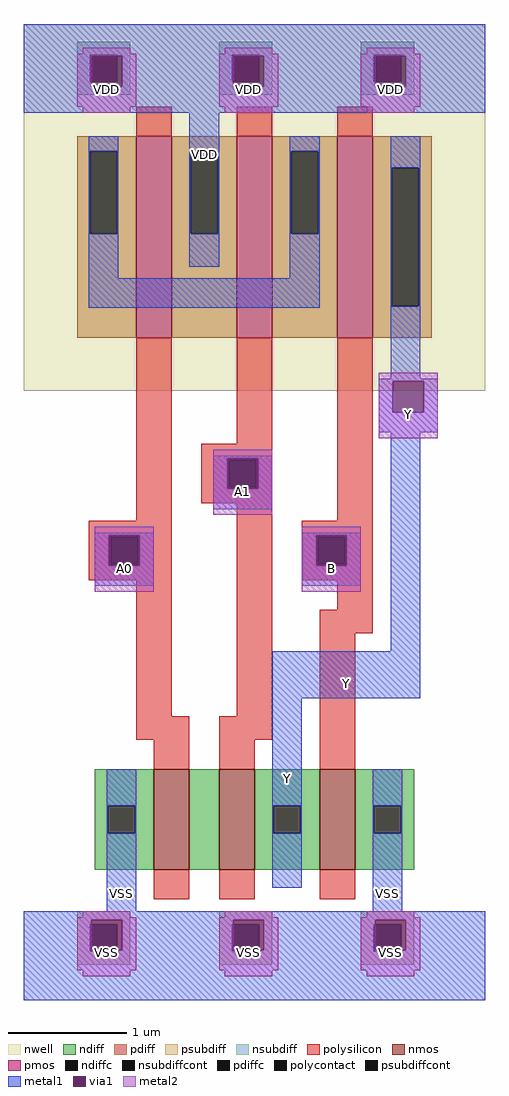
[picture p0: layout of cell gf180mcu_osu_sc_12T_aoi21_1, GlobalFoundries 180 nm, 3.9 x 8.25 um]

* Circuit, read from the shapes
.subckt gf180mcu_osu_sc_12T_aoi21_1 Y A0 A1 B VDD VSS
XM1 n1 A0 VSS VSS nfet_03v3 w=0.85u l=0.3u
XM2 Y A1 n1 VSS nfet_03v3 w=0.85u l=0.3u
XM3 VSS B Y VSS nfet_03v3 w=0.85u l=0.3u
XM4 VDD A0 n2 VDD pfet_03v3 w=1.7u l=0.3u
XM5 n2 A1 VDD VDD pfet_03v3 w=1.7u l=0.3u
XM6 Y B n2 VDD pfet_03v3 w=1.7u l=0.3u
.ends

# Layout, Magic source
magic
tech gf180mcuC
magscale 1 10
<< nwell >>
rect 0 1000 780 1620
<< nmos >>
rect 220 190 280 360
rect 330 190 390 360
rect 500 190 560 360
<< pmos >>
rect 190 1090 250 1430
rect 360 1090 420 1430
rect 530 1090 590 1430
<< ndiff >>
rect 120 298 220 360
rect 120 252 142 298
rect 188 252 220 298
rect 120 190 220 252
rect 280 190 330 360
rect 390 298 500 360
rect 390 252 422 298
rect 468 252 500 298
rect 390 190 500 252
rect 560 298 660 360
rect 560 252 592 298
rect 638 252 660 298
rect 560 190 660 252
<< pdiff >>
rect 90 1405 190 1430
rect 90 1265 112 1405
rect 158 1265 190 1405
rect 90 1090 190 1265
rect 250 1405 360 1430
rect 250 1265 282 1405
rect 328 1265 360 1405
rect 250 1090 360 1265
rect 420 1405 530 1430
rect 420 1265 452 1405
rect 498 1265 530 1405
rect 420 1090 530 1265
rect 590 1377 690 1430
rect 590 1143 622 1377
rect 668 1143 690 1377
rect 590 1090 690 1143
<< ndiffc >>
rect 142 252 188 298
rect 422 252 468 298
rect 592 252 638 298
<< pdiffc >>
rect 112 1265 158 1405
rect 282 1265 328 1405
rect 452 1265 498 1405
rect 622 1143 668 1377
<< psubdiff >>
rect 90 98 180 120
rect 90 52 112 98
rect 158 52 180 98
rect 90 30 180 52
rect 330 98 420 120
rect 330 52 352 98
rect 398 52 420 98
rect 330 30 420 52
rect 570 98 660 120
rect 570 52 592 98
rect 638 52 660 98
rect 570 30 660 52
<< nsubdiff >>
rect 90 1568 180 1590
rect 90 1522 112 1568
rect 158 1522 180 1568
rect 90 1500 180 1522
rect 330 1568 420 1590
rect 330 1522 352 1568
rect 398 1522 420 1568
rect 330 1500 420 1522
rect 570 1568 660 1590
rect 570 1522 592 1568
rect 638 1522 660 1568
rect 570 1500 660 1522
<< psubdiffcont >>
rect 112 52 158 98
rect 352 52 398 98
rect 592 52 638 98
<< nsubdiffcont >>
rect 112 1522 158 1568
rect 352 1522 398 1568
rect 592 1522 638 1568
<< polysilicon >>
rect 190 1430 250 1480
rect 360 1430 420 1480
rect 530 1430 590 1480
rect 190 780 250 1090
rect 360 910 420 1090
rect 300 883 420 910
rect 300 837 347 883
rect 393 837 420 883
rect 300 810 420 837
rect 110 753 250 780
rect 110 707 147 753
rect 193 707 250 753
rect 110 680 250 707
rect 190 450 250 680
rect 360 450 420 810
rect 530 780 590 1090
rect 470 753 590 780
rect 470 707 497 753
rect 543 707 590 753
rect 470 680 590 707
rect 530 630 590 680
rect 190 410 280 450
rect 220 360 280 410
rect 330 410 420 450
rect 500 590 590 630
rect 330 360 390 410
rect 500 360 560 590
rect 220 140 280 190
rect 330 140 390 190
rect 500 140 560 190
<< polycontact >>
rect 347 837 393 883
rect 147 707 193 753
rect 497 707 543 753
<< metal1 >>
rect 0 1568 780 1620
rect 0 1522 112 1568
rect 158 1566 352 1568
rect 398 1566 592 1568
rect 638 1566 780 1568
rect 166 1522 352 1566
rect 406 1522 592 1566
rect 0 1514 114 1522
rect 166 1514 354 1522
rect 406 1514 594 1522
rect 646 1514 780 1566
rect 0 1470 780 1514
rect 110 1405 160 1430
rect 110 1265 112 1405
rect 158 1265 160 1405
rect 110 1190 160 1265
rect 280 1405 330 1470
rect 280 1265 282 1405
rect 328 1265 330 1405
rect 280 1210 330 1265
rect 450 1405 500 1430
rect 450 1265 452 1405
rect 498 1265 500 1405
rect 450 1190 500 1265
rect 110 1140 500 1190
rect 620 1377 670 1430
rect 620 1143 622 1377
rect 668 1143 670 1377
rect 620 1020 670 1143
rect 600 1016 700 1020
rect 600 964 624 1016
rect 676 964 700 1016
rect 600 930 700 964
rect 320 886 420 890
rect 320 834 344 886
rect 396 834 420 886
rect 320 800 420 834
rect 120 756 220 760
rect 120 704 144 756
rect 196 704 220 756
rect 120 670 220 704
rect 470 756 570 760
rect 470 704 494 756
rect 546 704 570 756
rect 470 670 570 704
rect 620 560 670 930
rect 420 480 670 560
rect 140 298 190 360
rect 140 252 142 298
rect 188 252 190 298
rect 140 120 190 252
rect 420 298 470 480
rect 420 252 422 298
rect 468 252 470 298
rect 420 160 470 252
rect 590 298 640 360
rect 590 252 592 298
rect 638 252 640 298
rect 590 120 640 252
rect 0 106 780 120
rect 0 98 114 106
rect 166 98 354 106
rect 406 98 594 106
rect 0 52 112 98
rect 166 54 352 98
rect 406 54 592 98
rect 646 54 780 106
rect 158 52 352 54
rect 398 52 592 54
rect 638 52 780 54
rect 0 -30 780 52
<< via1 >>
rect 114 1522 158 1566
rect 158 1522 166 1566
rect 354 1522 398 1566
rect 398 1522 406 1566
rect 594 1522 638 1566
rect 638 1522 646 1566
rect 114 1514 166 1522
rect 354 1514 406 1522
rect 594 1514 646 1522
rect 624 964 676 1016
rect 344 883 396 886
rect 344 837 347 883
rect 347 837 393 883
rect 393 837 396 883
rect 344 834 396 837
rect 144 753 196 756
rect 144 707 147 753
rect 147 707 193 753
rect 193 707 196 753
rect 144 704 196 707
rect 494 753 546 756
rect 494 707 497 753
rect 497 707 543 753
rect 543 707 546 753
rect 494 704 546 707
rect 114 98 166 106
rect 354 98 406 106
rect 594 98 646 106
rect 114 54 158 98
rect 158 54 166 98
rect 354 54 398 98
rect 398 54 406 98
rect 594 54 638 98
rect 638 54 646 98
<< metal2 >>
rect 100 1570 180 1580
rect 340 1570 420 1580
rect 580 1570 660 1580
rect 90 1566 190 1570
rect 90 1514 114 1566
rect 166 1514 190 1566
rect 90 1480 190 1514
rect 330 1566 430 1570
rect 330 1514 354 1566
rect 406 1514 430 1566
rect 330 1480 430 1514
rect 570 1566 670 1570
rect 570 1514 594 1566
rect 646 1514 670 1566
rect 570 1480 670 1514
rect 100 1470 180 1480
rect 340 1470 420 1480
rect 580 1470 660 1480
rect 600 1016 700 1030
rect 600 964 624 1016
rect 676 964 700 1016
rect 600 920 700 964
rect 320 886 420 900
rect 320 834 344 886
rect 396 834 420 886
rect 320 790 420 834
rect 120 756 220 770
rect 120 704 144 756
rect 196 704 220 756
rect 120 660 220 704
rect 470 756 570 770
rect 470 704 494 756
rect 546 704 570 756
rect 470 660 570 704
rect 100 110 180 120
rect 340 110 420 120
rect 580 110 660 120
rect 90 106 190 110
rect 90 54 114 106
rect 166 54 190 106
rect 90 20 190 54
rect 330 106 430 110
rect 330 54 354 106
rect 406 54 430 106
rect 330 20 430 54
rect 570 106 670 110
rect 570 54 594 106
rect 646 54 670 106
rect 570 20 670 54
rect 100 10 180 20
rect 340 10 420 20
rect 580 10 660 20
<< labels >>
rlabel metal2 s 100 10 180 90 4 VSS
port 11 nsew ground bidirectional
rlabel metal2 s 100 1470 180 1550 4 VDD
port 10 nsew power bidirectional abutment
rlabel metal2 s 600 920 700 1000 4 Y
port 1 nsew signal output
rlabel metal2 s 120 660 220 740 4 A0
port 2 nsew signal input
rlabel metal2 s 320 790 420 870 4 A1
port 3 nsew signal input
rlabel metal2 s 470 660 570 740 4 B
port 4 nsew signal input
rlabel metal1 s 120 670 220 730 1 A0
port 2 nsew signal input
rlabel metal1 s 320 800 420 860 1 A1
port 3 nsew signal input
rlabel metal1 s 470 670 570 730 1 B
port 4 nsew signal input
rlabel metal2 s 90 1480 190 1540 1 VDD
port 10 nsew power bidirectional abutment
rlabel metal2 s 340 1470 420 1550 1 VDD
port 10 nsew power bidirectional abutment
rlabel metal2 s 330 1480 430 1540 1 VDD
port 10 nsew power bidirectional abutment
rlabel metal2 s 580 1470 660 1550 1 VDD
port 10 nsew power bidirectional abutment
rlabel metal2 s 570 1480 670 1540 1 VDD
port 10 nsew power bidirectional abutment
rlabel metal1 s 280 1210 330 1590 1 VDD
port 10 nsew power bidirectional abutment
rlabel metal1 s 0 1470 780 1590 1 VDD
port 10 nsew power bidirectional abutment
rlabel metal2 s 90 20 190 80 1 VSS
port 11 nsew ground bidirectional
rlabel metal2 s 340 10 420 90 1 VSS
port 11 nsew ground bidirectional
rlabel metal2 s 330 20 430 80 1 VSS
port 11 nsew ground bidirectional
rlabel metal2 s 580 10 660 90 1 VSS
port 11 nsew ground bidirectional
rlabel metal2 s 570 20 670 80 1 VSS
port 11 nsew ground bidirectional
rlabel metal1 s 140 -30 190 330 1 VSS
port 11 nsew ground bidirectional
rlabel metal1 s 590 -30 640 330 1 VSS
port 11 nsew ground bidirectional
rlabel metal1 s 0 -30 780 90 1 VSS
port 11 nsew ground bidirectional
rlabel metal1 s 420 160 470 530 1 Y
port 1 nsew signal output
rlabel metal1 s 420 480 670 530 1 Y
port 1 nsew signal output
rlabel metal1 s 620 480 670 1400 1 Y
port 1 nsew signal output
rlabel metal1 s 600 930 700 990 1 Y
port 1 nsew signal output
<< properties >>
string FIXED_BBOX 0 -30 780 1590
string GDS_END 54568
string GDS_FILE $PDKPATH/libs.ref/gf180mcu_osu_sc_12T/gds/gf180mcu_osu_sc_12T.gds
string GDS_START 47420
string LEFclass CORE
string LEFsite GF018hv5v_mcu_sc7
string LEFsymmetry X Y
<< end >>
